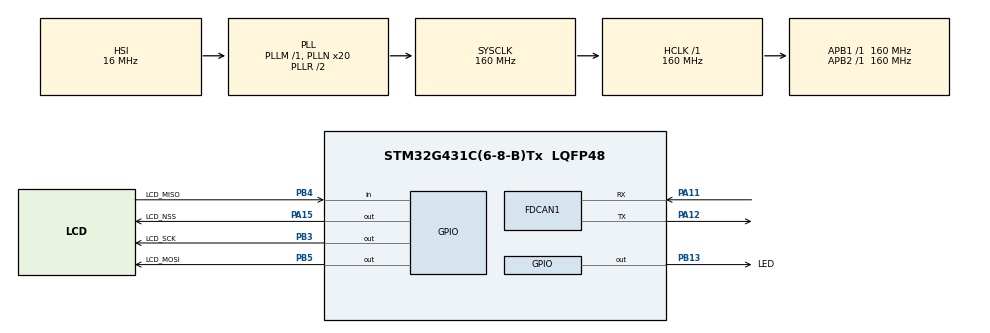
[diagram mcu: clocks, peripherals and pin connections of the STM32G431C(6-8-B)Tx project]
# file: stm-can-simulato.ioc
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FDCAN1.CalculateBaudRateNominal=500000
FDCAN1.CalculateTimeBitNominal=2000
FDCAN1.CalculateTimeQuantumNominal=400.0
FDCAN1.ExtFiltersNbr=0
FDCAN1.NominalPrescaler=64
FDCAN1.StdFiltersNbr=0
FDCAN1.TxFifoQueueMode=FDCAN_TX_FIFO_OPERATION
Mcu.Family=STM32G4
Mcu.Name=STM32G431C(6-8-B)Tx
Mcu.Package=LQFP48
NVIC.PriorityGroup=NVIC_PRIORITYGROUP_4
NVIC.TIM7_IRQn=true\:0\:0\:false\:false\:true\:true\:true\:true
PA11.Mode=FDCAN_Activate
PA11.Signal=FDCAN1_RX
PA12.Mode=FDCAN_Activate
PA12.Signal=FDCAN1_TX
PA13.GPIO_Label=swdio
PA13.Mode=Serial_Wire
PA13.Signal=SYS_JTMS-SWDIO
PA14.GPIO_Label=swclk
PA14.Mode=Serial_Wire
PA14.Signal=SYS_JTCK-SWCLK
PA15.GPIO_Label=LCD_NSS
PA15.Signal=GPIO_Output
PB13.GPIO_Label=LED
PB13.Signal=GPIO_Output
PB3.GPIO_Label=LCD_SCK
PB3.Signal=GPIO_Output
PB4.GPIO_Label=LCD_MISO
PB4.Signal=GPIO_Input
PB5.GPIO_Label=LCD_MOSI
PB5.Signal=GPIO_Output
ProjectManager.HeapSize=0x200
ProjectManager.StackSize=0x400
ProjectManager.TargetToolchain=STM32CubeIDE
RCC.ADC12Freq_Value=160000000
RCC.AHBFreq_Value=160000000
RCC.APB1Freq_Value=160000000
RCC.APB1TimFreq_Value=160000000
RCC.APB2Freq_Value=160000000
RCC.APB2TimFreq_Value=160000000
RCC.CortexFreq_Value=160000000
RCC.EXTERNAL_CLOCK_VALUE=12288000
RCC.HCLKFreq_Value=160000000
RCC.HSE_VALUE=8000000
RCC.HSI48_VALUE=48000000
RCC.HSI_VALUE=16000000
RCC.LSE_VALUE=32768
RCC.PLLN=20
RCC.SYSCLKFreq_VALUE=160000000
RCC.SYSCLKSource=RCC_SYSCLKSOURCE_PLLCLK
RCC.USBFreq_Value=160000000
RCC.VCOOutputFreq_Value=320000000
TIM7.AutoReloadPreload=TIM_AUTORELOAD_PRELOAD_ENABLE
TIM7.PeriodNoDither=2500
TIM7.Prescaler=16000
VP_TIM7_VS_ClockSourceINT.Mode=Enable_Timer
board=custom

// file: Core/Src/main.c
/* USER CODE BEGIN Header */
/**
  ******************************************************************************
  * @file           : main.c
  * @brief          : Main program body
  ******************************************************************************
  * @attention
  *
  * Copyright (c) 2022 STMicroelectronics.
  * All rights reserved.
  *
  * This software is licensed under terms that can be found in the LICENSE file
  * in the root directory of this software component.
  * If no LICENSE file comes with this software, it is provided AS-IS.
  *
  ******************************************************************************
  */
//Version no 29-12-23 V2

/* USER CODE END Header */
#include "main.h"

/* USER CODE BEGIN Includes */
#include "CAN_Communication.h"
#include "DALY_communication.h"
#include "STH_CAN_Simulator.h"
#include "JLN_Phenix.h"
#include "Sonalika.h"
#include "EXIDE.h"
#include "AEIDTH.h"
#include "Pixel.h"
#include "GODAWARI.h"
#include "TRONTEK.h"
#include "RE.h"
#include "NE.h"
#include "BS.h"

/* USER CODE END Includes */

FDCAN_HandleTypeDef hfdcan1;

TIM_HandleTypeDef htim7;

/* USER CODE BEGIN PV */
uint8_t CellCount = 16;//22 by gopi sir
uint8_t protocol_selection =22;//0;//1;//1 for godawari and 2 for daly
uint8_t fg_CellCount =0;
uint8_t fg_protocol_selection =0;//flag to set protocols

/* USER CODE END PV */

void SystemClock_Config(void);
static void MX_GPIO_Init(void);
void MX_FDCAN1_Init(void);
static void MX_TIM7_Init(void);
void DALY_MX_FDCAN1_Init(void);

/* USER CODE BEGIN 0 */
volatile uint32_t oneMinuteTimer 			= 0;    // One minute time counter variable
volatile uint8_t oneMinutePassedFlag		= 0;    // Flag that one minute has passed
long long unsigned int j = 0;
uint8_t    isQuaterSecSet 					=  0;
uint8_t    isHalfSecSet 					=  0;
/* USER CODE END 0 */

int main(void)
{

  /* MCU Configuration--------------------------------------------------------*/

  /* Reset of all peripherals, Initializes the Flash interface and the Systick. */
  HAL_Init();

  /* Configure the system clock */
  SystemClock_Config();

  /* Initialize all configured peripherals */
  MX_GPIO_Init();
  MX_FDCAN1_Init();
  MX_TIM7_Init();
  /* USER CODE BEGIN 2 */

  //	LCD Initializing
  //	Select battery model
  HAL_TIM_Base_Start_IT(&htim7);
  HAL_Delay(100);
  TM1723_Initialize();
  HAL_Delay(100);
  TM1723_Clear_Screen();

  Write_7_Segment(5, 1);
  Write_7_Segment(17, 2);
  Write_7_Segment(18, 3);
  Write_7_Segment(17, 4);

  TM1723_Update_Screen();
  HAL_Delay(2000);
  //HAL_FDCAN_Start(&DALY_hfdcan1);
  HAL_FDCAN_Start(&hfdcan1);
  TM1723_Clear_Screen();

 uint8_t First_pos = CellCount/10;
 uint8_t Second_pos = CellCount%10;
  Write_7_Segment(First_pos, 1);
  Write_7_Segment(Second_pos, 2);
  Write_7_Segment(11, 4);
  TM1723_Update_Screen();
  /* USER CODE END 2 */

  /* Infinite loop */
  /* USER CODE BEGIN WHILE */
  while (1)
  {
//Start the execution of protocol
if(FDCAN1->CCCR & FDCAN_CCCR_INIT_Msk) // Checking if the CCCR INIT flag is set (Bus off State)
      FDCAN1->CCCR &= ~FDCAN_CCCR_INIT;	// Resetting the flag so that bus off can be mitigated

if(protocol_selection == 0||protocol_selection == 14)
	  {
			if(protocol_selection == 0)
			{
				//Write_7_Segment(10, 3);
				Write_7_Segment(10, 3);
				Write_7_Segment(0, 4);
				TM1723_Update_Screen();
			}
			else if(protocol_selection == 14)
			{
				 Write_7_Segment(1, 3);
				 Write_7_Segment(4, 4);
				 TM1723_Update_Screen();
			}
		  JBD_BMS_Communication(&hfdcan1, CellCount);
	  }
else if(protocol_selection == 1||protocol_selection == 15)
	  {
	            if(protocol_selection == 1)
				{
					Write_7_Segment(10, 3);
					Write_7_Segment(1, 4);
					TM1723_Update_Screen();
				}
				else if(protocol_selection == 15)
				{
					 Write_7_Segment(1, 3);
					 Write_7_Segment(5, 4);
					 TM1723_Update_Screen();
				}
		  DALY_BMS_Communication(&hfdcan1, CellCount);
	  }
else if(protocol_selection == 2||protocol_selection == 16)
	  {
	            if(protocol_selection == 2)
				{
					Write_7_Segment(10, 3);
					Write_7_Segment(2, 4);
					TM1723_Update_Screen();
				}
				else if(protocol_selection == 16)
				{
					 Write_7_Segment(1, 3);
					 Write_7_Segment(6, 4);
					 TM1723_Update_Screen();
				}
		  STH_BMS_Communication(&hfdcan1, CellCount);//Akira
	  }
else if(protocol_selection == 3 || protocol_selection == 17)
	  {
	            if(protocol_selection == 3)
				{
					Write_7_Segment(10, 3);
					Write_7_Segment(3, 4);
					TM1723_Update_Screen();
				}
				else if(protocol_selection == 17)
				{
					 Write_7_Segment(1, 3);
					 Write_7_Segment(7, 4);
					 TM1723_Update_Screen();
				}
		  JLN_BMS_Communication(&hfdcan1, CellCount);
	  }
else if(protocol_selection == 4||protocol_selection == 18)
	  {
	            if(protocol_selection == 4)
				{
					Write_7_Segment(10, 3);
					Write_7_Segment(4, 4);
					TM1723_Update_Screen();
				}
				else if(protocol_selection == 18)
				{
					 Write_7_Segment(1, 3);
					 Write_7_Segment(8, 4);
					 TM1723_Update_Screen();
				}
		  sonalika(&hfdcan1, CellCount);
	  }
else if(protocol_selection == 5||protocol_selection == 19)
	  {
	            if(protocol_selection == 5)
				{
					Write_7_Segment(10, 3);
					Write_7_Segment(5, 4);
					TM1723_Update_Screen();
				}
				else if(protocol_selection == 19)
				{
					 Write_7_Segment(1, 3);
					 Write_7_Segment(9, 4);
					 TM1723_Update_Screen();
				}
		  Pixel(&hfdcan1, CellCount);
	  }
else if(protocol_selection == 6||protocol_selection == 20||protocol_selection == 10 ||protocol_selection == 11)
	  {
	            if(protocol_selection == 6)
				{
					Write_7_Segment(10, 3);
					Write_7_Segment(6, 4);
					TM1723_Update_Screen();
				}
				else if(protocol_selection == 20)
				{
					 Write_7_Segment(2, 3);
					 Write_7_Segment(0, 4);
					 TM1723_Update_Screen();
				}
				else if(protocol_selection == 10)
				{
					 Write_7_Segment(1, 3);
					 Write_7_Segment(0, 4);
					 TM1723_Update_Screen();
				}
				else if(protocol_selection == 11)
				{
					 Write_7_Segment(1, 3);
					 Write_7_Segment(1, 4);
					 TM1723_Update_Screen();
				}
		  EXIDE(&hfdcan1, CellCount);
	  }
else if(protocol_selection == 7||protocol_selection == 21)
	  {
	if(protocol_selection == 7)
				{
					Write_7_Segment(10, 3);
					Write_7_Segment(7, 4);
					TM1723_Update_Screen();
				}
				else if(protocol_selection == 21)
				{
					 Write_7_Segment(2, 3);
					 Write_7_Segment(1, 4);
					 TM1723_Update_Screen();
				}
		  AEIDTH(&hfdcan1, CellCount);
	  }
else if(protocol_selection == 8)
	  {
		 Write_7_Segment(10, 3);
		 Write_7_Segment(8, 4);
		 TM1723_Update_Screen();
		 GODAWARI(&hfdcan1, CellCount);
	  }
else if(protocol_selection == 9)
	  {
		 Write_7_Segment(10, 3);
		 Write_7_Segment(9, 4);
		 TM1723_Update_Screen();
		 TRONTEK(&hfdcan1, CellCount);
	  }
else if(protocol_selection == 12)
	  {
		 Write_7_Segment(1, 3);
		 Write_7_Segment(2, 4);
		 TM1723_Update_Screen();
		 RE(&hfdcan1, CellCount);
	  }
else if(protocol_selection == 13)
	  {
		 Write_7_Segment(1, 3);
		 Write_7_Segment(3, 4);
		 TM1723_Update_Screen();
		 NE(&hfdcan1, CellCount);
	  }
else if(protocol_selection == 22)
	  {
		 Write_7_Segment(2, 3);
		 Write_7_Segment(2, 4);
		 TM1723_Update_Screen();
		 BS(&hfdcan1, CellCount);
	  }

//End the execution of protocol

//Start to update cell count and manage the cell count
 if(TM1723_Read_Switches() == 1)
  {
	  HAL_Delay(1);
	  CellCount++;
	  if (CellCount<10)
	  {
		  Write_7_Segment(CellCount, 1);
		  Write_7_Segment(10, 2);
		  TM1723_Update_Screen();
	  }
	  if (CellCount>=10)
	  {
		  First_pos = CellCount/10;
		  Second_pos = CellCount%10;
		  Write_7_Segment(First_pos, 1);
		  Write_7_Segment(Second_pos, 2);
		  TM1723_Update_Screen();
	  }
	  if(CellCount > 24)
	  {
		  CellCount=1;
		  TM1723_Clear_Screen();
		  Write_7_Segment(CellCount, 1);//working fine but 5 showing of the 25 number
		  TM1723_Update_Screen();
	  }
	  while(TM1723_Read_Switches() == 1);
  }
//End to update cell count

//Start to change protocol

  if(TM1723_Read_Switches() == 2)
	{
	  protocol_selection++;
	    if(protocol_selection>22)
			  {
				  protocol_selection=0;
			  }
				HAL_Delay(2);
			switch(protocol_selection)
			  {
			  case 0://0-7 all all baud rate set is 500Kbps
			  case 1:
			  case 2:
			  case 3:
			  case 4:
			  case 5:
			  case 6:
			  case 7:
			  case 8:
			  case 9:
			  case 10:
			  case 11:
			  case 12:
			  case 13:
			  case 22:
			  HAL_FDCAN_Stop(&hfdcan1);
			  MX_FDCAN1_Init();//500Kbps
			  HAL_FDCAN_Start(&hfdcan1);
			  HAL_Delay(1);
			  break;
			  case 14:
			  case 15:
			  case 16://0-7 all all baud rate set is 500Kbps
			  case 17:
			  case 18:
			  case 19:
			  case 20:
			  case 21://for 250Kbps
			  HAL_FDCAN_Stop(&hfdcan1);
			  DALY_MX_FDCAN1_Init();//250Kbps
			  HAL_FDCAN_Start(&hfdcan1);
			  HAL_Delay(1);
			  break;
			  default://By default it is a JBD
			  HAL_FDCAN_Stop(&hfdcan1);
			  MX_FDCAN1_Init();//500Kbps
			  HAL_FDCAN_Start(&hfdcan1);
			  HAL_Delay(1);
			  break;
			  }
	  while(TM1723_Read_Switches() == 2);
//End to change protocol

	}

    /* USER CODE END WHILE */

  }
}

void SystemClock_Config(void)
{
  RCC_OscInitTypeDef RCC_OscInitStruct = {0};
  RCC_ClkInitTypeDef RCC_ClkInitStruct = {0};

  /** Configure the main internal regulator output voltage
  */
  HAL_PWREx_ControlVoltageScaling(PWR_REGULATOR_VOLTAGE_SCALE1_BOOST);

  /** Initializes the RCC Oscillators according to the specified parameters
  * in the RCC_OscInitTypeDef structure.
  */
  RCC_OscInitStruct.OscillatorType = RCC_OSCILLATORTYPE_HSI;
  RCC_OscInitStruct.HSIState = RCC_HSI_ON;
  RCC_OscInitStruct.HSICalibrationValue = RCC_HSICALIBRATION_DEFAULT;
  RCC_OscInitStruct.PLL.PLLState = RCC_PLL_ON;
  RCC_OscInitStruct.PLL.PLLSource = RCC_PLLSOURCE_HSI;
  RCC_OscInitStruct.PLL.PLLM = RCC_PLLM_DIV1;
  RCC_OscInitStruct.PLL.PLLN = 20;
  RCC_OscInitStruct.PLL.PLLP = RCC_PLLP_DIV2;
  RCC_OscInitStruct.PLL.PLLQ = RCC_PLLQ_DIV2;
  RCC_OscInitStruct.PLL.PLLR = RCC_PLLR_DIV2;
  if (HAL_RCC_OscConfig(&RCC_OscInitStruct) != HAL_OK)
  {
    Error_Handler();
  }

  /** Initializes the CPU, AHB and APB buses clocks
  */
  RCC_ClkInitStruct.ClockType = RCC_CLOCKTYPE_HCLK|RCC_CLOCKTYPE_SYSCLK
                              |RCC_CLOCKTYPE_PCLK1|RCC_CLOCKTYPE_PCLK2;
  RCC_ClkInitStruct.SYSCLKSource = RCC_SYSCLKSOURCE_PLLCLK;
  RCC_ClkInitStruct.AHBCLKDivider = RCC_SYSCLK_DIV1;
  RCC_ClkInitStruct.APB1CLKDivider = RCC_HCLK_DIV1;
  RCC_ClkInitStruct.APB2CLKDivider = RCC_HCLK_DIV1;

  if (HAL_RCC_ClockConfig(&RCC_ClkInitStruct, FLASH_LATENCY_4) != HAL_OK)
  {
    Error_Handler();
  }
}

void MX_FDCAN1_Init(void)
{

  hfdcan1.Instance = FDCAN1;
  hfdcan1.Init.ClockDivider = FDCAN_CLOCK_DIV1;
  hfdcan1.Init.FrameFormat = FDCAN_FRAME_CLASSIC;
  hfdcan1.Init.Mode = FDCAN_MODE_NORMAL;
  hfdcan1.Init.AutoRetransmission = DISABLE;
  hfdcan1.Init.TransmitPause = DISABLE;
  hfdcan1.Init.ProtocolException = DISABLE;
  hfdcan1.Init.NominalPrescaler = 64;
  hfdcan1.Init.NominalSyncJumpWidth = 1;
  hfdcan1.Init.NominalTimeSeg1 = 2;
  hfdcan1.Init.NominalTimeSeg2 = 2;
  hfdcan1.Init.DataPrescaler = 1;
  hfdcan1.Init.DataSyncJumpWidth = 1;
  hfdcan1.Init.DataTimeSeg1 = 1;
  hfdcan1.Init.DataTimeSeg2 = 1;
  hfdcan1.Init.StdFiltersNbr = 0;
  hfdcan1.Init.ExtFiltersNbr = 0;
  hfdcan1.Init.TxFifoQueueMode = FDCAN_TX_FIFO_OPERATION;
  if (HAL_FDCAN_Init(&hfdcan1) != HAL_OK)
  {
    Error_Handler();
  }

}

static void MX_TIM7_Init(void)
{

  TIM_MasterConfigTypeDef sMasterConfig = {0};

  htim7.Instance = TIM7;
  htim7.Init.Prescaler = 16000;
  htim7.Init.CounterMode = TIM_COUNTERMODE_UP;
  htim7.Init.Period = 2500;
  htim7.Init.AutoReloadPreload = TIM_AUTORELOAD_PRELOAD_ENABLE;
  if (HAL_TIM_Base_Init(&htim7) != HAL_OK)
  {
    Error_Handler();
  }
  sMasterConfig.MasterOutputTrigger = TIM_TRGO_RESET;
  sMasterConfig.MasterSlaveMode = TIM_MASTERSLAVEMODE_DISABLE;
  if (HAL_TIMEx_MasterConfigSynchronization(&htim7, &sMasterConfig) != HAL_OK)
  {
    Error_Handler();
  }

}

static void MX_GPIO_Init(void)
{
  GPIO_InitTypeDef GPIO_InitStruct = {0};

  /* GPIO Ports Clock Enable */
  __HAL_RCC_GPIOB_CLK_ENABLE();
  __HAL_RCC_GPIOA_CLK_ENABLE();

  /*Configure GPIO pin Output Level */
  HAL_GPIO_WritePin(GPIOB, LED_Pin|LCD_SCK_Pin|LCD_MOSI_Pin, GPIO_PIN_RESET);

  /*Configure GPIO pin Output Level */
  HAL_GPIO_WritePin(LCD_NSS_GPIO_Port, LCD_NSS_Pin, GPIO_PIN_RESET);

  /*Configure GPIO pins : LED_Pin LCD_SCK_Pin LCD_MOSI_Pin */
  GPIO_InitStruct.Pin = LED_Pin|LCD_SCK_Pin|LCD_MOSI_Pin;
  GPIO_InitStruct.Mode = GPIO_MODE_OUTPUT_PP;
  GPIO_InitStruct.Pull = GPIO_NOPULL;
  GPIO_InitStruct.Speed = GPIO_SPEED_FREQ_LOW;
  HAL_GPIO_Init(GPIOB, &GPIO_InitStruct);

  /*Configure GPIO pin : LCD_NSS_Pin */
  GPIO_InitStruct.Pin = LCD_NSS_Pin;
  GPIO_InitStruct.Mode = GPIO_MODE_OUTPUT_PP;
  GPIO_InitStruct.Pull = GPIO_NOPULL;
  GPIO_InitStruct.Speed = GPIO_SPEED_FREQ_LOW;
  HAL_GPIO_Init(LCD_NSS_GPIO_Port, &GPIO_InitStruct);

  /*Configure GPIO pin : LCD_MISO_Pin */
  GPIO_InitStruct.Pin = LCD_MISO_Pin;
  GPIO_InitStruct.Mode = GPIO_MODE_INPUT;
  GPIO_InitStruct.Pull = GPIO_NOPULL;
  HAL_GPIO_Init(LCD_MISO_GPIO_Port, &GPIO_InitStruct);

}

/* USER CODE BEGIN 4 */
void HAL_TIM_PeriodElapsedCallback(TIM_HandleTypeDef *htim)
{
	if(htim->Instance == TIM7)
	{
		j++;

		isQuaterSecSet = 1;
		if((j%2)==0)  // Checking is number is even .. is so then half second passed
		{
			isHalfSecSet=1;
		}
		if(oneMinuteTimer!=0)
		{
			oneMinuteTimer--;
		}

	}
}
/**
  * @brief GPIO Initialization Function
  * @param None
  * @retval None
  */
void DALY_MX_FDCAN1_Init(void)
{

  /* USER CODE BEGIN FDCAN1_Init 0 */

  /* USER CODE END FDCAN1_Init 0 */

  /* USER CODE BEGIN FDCAN1_Init 1 */

  /* USER CODE END FDCAN1_Init 1 */
	hfdcan1.Instance = FDCAN1;
	hfdcan1.Init.ClockDivider = FDCAN_CLOCK_DIV1;
	hfdcan1.Init.FrameFormat = FDCAN_FRAME_CLASSIC;
	hfdcan1.Init.Mode = FDCAN_MODE_NORMAL;
	hfdcan1.Init.AutoRetransmission = DISABLE;
	hfdcan1.Init.TransmitPause = DISABLE;
	hfdcan1.Init.ProtocolException = DISABLE;
	hfdcan1.Init.NominalPrescaler = 64;
	hfdcan1.Init.NominalSyncJumpWidth = 1;
	hfdcan1.Init.NominalTimeSeg1 = 8;
	hfdcan1.Init.NominalTimeSeg2 = 1;
	hfdcan1.Init.DataPrescaler = 1;
	hfdcan1.Init.DataSyncJumpWidth = 1;
	hfdcan1.Init.DataTimeSeg1 = 1;
	hfdcan1.Init.DataTimeSeg2 = 1;
	hfdcan1.Init.StdFiltersNbr = 0;
	hfdcan1.Init.ExtFiltersNbr = 0;
	hfdcan1.Init.TxFifoQueueMode = FDCAN_TX_FIFO_OPERATION;
  if (HAL_FDCAN_Init(&hfdcan1) != HAL_OK)
  {
    Error_Handler();
  }
  /* USER CODE BEGIN FDCAN1_Init 2 */

  /* USER CODE END FDCAN1_Init 2 */

}
/* USER CODE END 4 */

void Error_Handler(void)
{
  __disable_irq();
  while (1)
  {
  }
}
